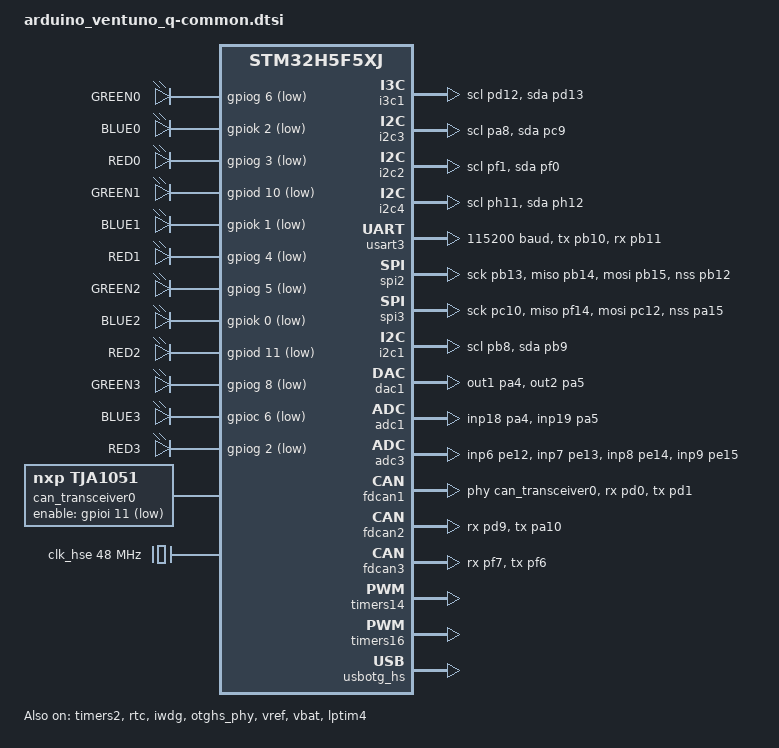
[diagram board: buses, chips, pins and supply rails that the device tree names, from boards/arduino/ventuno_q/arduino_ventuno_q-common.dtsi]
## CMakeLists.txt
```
# SPDX-License-Identifier: MIT
cmake_minimum_required(VERSION 3.20.0)
find_package(Zephyr REQUIRED HINTS $ENV{ZEPHYR_BASE})
project(demo_firmware)

target_sources(app PRIVATE src/main.c src/matrix.c src/matrix_svc.c src/mcu_log.c)
```

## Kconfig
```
# SPDX-License-Identifier: MIT
mainmenu "Demo firmware"

config DEMO_BAR_PERIOD_MS
	int "LED matrix self-test frame period (ms)"
	default 1000
	range 10 10000
	help
	  How often the self-test's vertical bar moves to the next column.

source "Kconfig.zephyr"
```

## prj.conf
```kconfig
# SPDX-License-Identifier: MIT
CONFIG_GPIO=y
CONFIG_COUNTER=y

# LED matrix service: MCUmgr SMP over the Linux link (zephyr,uart-mcumgr)
CONFIG_MCUMGR=y
CONFIG_NET_BUF=y
CONFIG_ZCBOR=y
CONFIG_BASE64=y
CONFIG_CRC=y
CONFIG_SERIAL=y
CONFIG_CONSOLE=y
CONFIG_UART_MCUMGR=y
CONFIG_MCUMGR_TRANSPORT_UART=y
# Custom groups don't raise the zcbor nesting defaults (0 = no map decoding)
CONFIG_MCUMGR_SMP_CBOR_MAX_DECODING_LEVELS=2
# Console output kept for the service's LOG command
CONFIG_RING_BUFFER=y
```

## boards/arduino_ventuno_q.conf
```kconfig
# SPDX-License-Identifier: MIT
# USB device stack with the console on CDC ACM (see the cdc-acm-console
# snippet); needs firmware/zephyr-patches for STM32H5F5 OTG HS support.
CONFIG_USB_DEVICE_STACK_NEXT=y
CONFIG_CDC_ACM_SERIAL_INITIALIZE_AT_BOOT=y
CONFIG_CDC_ACM_SERIAL_MANUFACTURER_STRING="OSS 2026 demo"
CONFIG_CDC_ACM_SERIAL_PRODUCT_STRING="VENTUNO Q MCU"
CONFIG_UART_LINE_CTRL=y
```

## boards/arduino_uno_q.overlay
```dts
/*
 * The MCU/Linux internal UART (LPUART1, Linux /dev/ttyHS1 = /dev/mcu-console)
 * carries the LED matrix service (MCUmgr SMP). Console text stays on the
 * board's default USART1 header pins (D1/TX, D0/RX).
 */
/ {
	chosen {
		zephyr,uart-mcumgr = &lpuart1;
	};
};

/* LED matrix scan timer (as in Arduino's board variants) */
&timers17 {
	status = "okay";
	st,prescaler = <4>;

	counter_matrix: counter {
		status = "okay";
	};
};
```

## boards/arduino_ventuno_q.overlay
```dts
/*
 * The VENTUNO Q MCU reaches Linux only over USB: the board's CDC ACM UART
 * (Linux /dev/mcu-console) carries the LED matrix service (MCUmgr SMP).
 * Console text stays on the board's default USART3.
 */
/ {
	chosen {
		zephyr,uart-mcumgr = &board_cdc_acm_uart;
	};
};

/* LED matrix scan timer (as in Arduino's board variants) */
&timers17 {
	status = "okay";
	st,prescaler = <4>;

	counter_matrix: counter {
		status = "okay";
	};
};
```

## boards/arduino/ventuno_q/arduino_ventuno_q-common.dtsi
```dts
/*
 * Copyright (c) 2021 Linaro Limited
 * Copyright (c) 2024 STMicroelectronics
 * Copyright (c) 2026 Arduino SA
 *
 * SPDX-License-Identifier: Apache-2.0
 */

#include <st/h5/stm32h5f5Xj.dtsi>
#include <st/h5/stm32h5f5ijkxq-pinctrl.dtsi>
#include <zephyr/dt-bindings/sensor/qdec_stm32.h>
#include <zephyr/dt-bindings/led/led.h>

/ {
	leds: leds {
		compatible = "gpio-leds";

		green_led_0: led_1 {
			gpios = <&gpiog 6 GPIO_ACTIVE_LOW>;
			label = "GREEN0";
		};

		blue_led_0: led_2 {
			gpios = <&gpiok 2 GPIO_ACTIVE_LOW>;
			label = "BLUE0";
		};

		red_led_0: led_3 {
			gpios = <&gpiog 3 GPIO_ACTIVE_LOW>;
			label = "RED0";
		};

		green_led_1: led_4 {
			gpios = <&gpiod 10 GPIO_ACTIVE_LOW>;
			label = "GREEN1";
		};

		blue_led_1: led_5 {
			gpios = <&gpiok 1 GPIO_ACTIVE_LOW>;
			label = "BLUE1";
		};

		red_led_1: led_6 {
			gpios = <&gpiog 4 GPIO_ACTIVE_LOW>;
			label = "RED1";
		};

		green_led_2: led_7 {
			gpios = <&gpiog 5 GPIO_ACTIVE_LOW>;
			label = "GREEN2";
		};

		blue_led_2: led_8 {
			gpios = <&gpiok 0 GPIO_ACTIVE_LOW>;
			label = "BLUE2";
		};

		red_led_2: led_9 {
			gpios = <&gpiod 11 GPIO_ACTIVE_LOW>;
			label = "RED2";
		};

		green_led_3: led_10 {
			gpios = <&gpiog 8 GPIO_ACTIVE_LOW>;
			label = "GREEN3";
		};

		blue_led_3: led_11 {
			gpios = <&gpioc 6 GPIO_ACTIVE_LOW>;
			label = "BLUE3";
		};

		red_led_3: led_12 {
			gpios = <&gpiog 2 GPIO_ACTIVE_LOW>;
			label = "RED3";
		};
	};

	rgb_led_0: led0 {
			compatible = "leds-group-multicolor";

			leds = <&red_led_0>, <&green_led_0>, <&blue_led_0>;
			color-mapping = <LED_COLOR_ID_RED>,
							<LED_COLOR_ID_GREEN>,
							<LED_COLOR_ID_BLUE>;
	};

	rgb_led_1: led1 {
			compatible = "leds-group-multicolor";

			leds = <&red_led_1>, <&green_led_1>, <&blue_led_1>;
			color-mapping = <LED_COLOR_ID_RED>,
							<LED_COLOR_ID_GREEN>,
							<LED_COLOR_ID_BLUE>;
	};

	rgb_led_2: led2 {
			compatible = "leds-group-multicolor";

			leds = <&red_led_1>, <&green_led_1>, <&blue_led_1>;
			color-mapping = <LED_COLOR_ID_RED>,
							<LED_COLOR_ID_GREEN>,
							<LED_COLOR_ID_BLUE>;
	};

	rgb_led_3: led3 {
			compatible = "leds-group-multicolor";

			leds = <&red_led_3>, <&green_led_3>, <&blue_led_3>;
			color-mapping = <LED_COLOR_ID_RED>,
							<LED_COLOR_ID_GREEN>,
							<LED_COLOR_ID_BLUE>;
	};

/*
	TODO: led matrix driver
*/

	can_transceiver0: can-phy0 {
		compatible = "nxp,tja1051", "can-transceiver-gpio";
		enable-gpios = <&gpioi 11 GPIO_ACTIVE_LOW>;
		max-bitrate = <5000000>;
		#phy-cells = <0>;
	};
};

&timers2 {
	st,prescaler = <239>;
	status = "okay";
	counter0: counter {
		status = "okay";
	};
};

&clk_hse {
	clock-frequency = <DT_FREQ_M(48)>;
	status = "okay";
};

&clk_hsi48 {
	status = "okay";
};

&clk_lse {
	status = "okay";
};

&pll {
	div-m = <4>;
	mul-n = <40>;
	div-p = <2>;
	div-q = <2>;
	div-r = <2>;
	clocks = <&clk_hse>;
	status = "okay";
};

&pll2 {
	div-m = <4>;
	mul-n = <20>;
	div-p = <2>;
	div-q = <2>;
	div-r = <2>;
	clocks = <&clk_hse>;
	status = "okay";
};

&pll3 {
	div-m = <3>;
	mul-n = <8>;
	div-p = <2>;
	div-q = <8>;
	div-r = <2>;
	clocks = <&clk_hse>;
	status = "okay";
};

&i3c1 {
	pinctrl-0 = <&i3c1_scl_pd12 &i3c1_sda_pd13>;
	pinctrl-names = "default";
	i3c-scl-hz = <12500000>;
	status = "okay";
};

&rcc {
	clocks = <&pll>;
	clock-frequency = <DT_FREQ_M(240)>;
	ahb-prescaler = <1>;
	apb1-prescaler = <2>;
	apb2-prescaler = <1>;
	apb3-prescaler = <2>;
};

/* QWIIK */
&i2c3 {
	pinctrl-0 = <&i2c3_scl_pa8 &i2c3_sda_pc9>;
	pinctrl-names = "default";
	status = "okay";
};

/* JMISC */
&i2c2 {
	pinctrl-0 = <&i2c2_scl_pf1 &i2c2_sda_pf0>;
	pinctrl-names = "default";
	status = "okay";
};

/* JDIGITAL */

&i2c4 {
	pinctrl-0 = <&i2c4_scl_ph11 &i2c4_sda_ph12>;
	pinctrl-names = "default";
	status = "okay";
};

&pinctrl {
	/omit-if-no-ref/ usart3_rx_pb11: usart3_rx_pb11 {
		pinmux = <STM32_PINMUX('B', 11, AF7)>;
		bias-pull-up;
	};
	/omit-if-no-ref/ spi3_miso_pf14: spi3_miso_pf14 {
		pinmux = <STM32_PINMUX('F', 14, AF6)>;
		bias-pull-down;
	};
};

&usart3 {
	pinctrl-0 = <&usart3_tx_pb10 &usart3_rx_pb11>;
	pinctrl-names = "default";
	current-speed = <115200>;
	status = "okay";
};

&spi2 {
	pinctrl-0 = <&spi2_sck_pb13 &spi2_miso_pb14 &spi2_mosi_pb15 &spi2_nss_pb12>;
	pinctrl-names = "default";
	/*cs-gpios = <&gpiob 12 (GPIO_ACTIVE_LOW | GPIO_PULL_UP)>;*/
	status = "okay";
};

&spi3 {
	pinctrl-0 = <&spi3_sck_pc10 &spi3_miso_pf14 &spi3_mosi_pc12 &spi3_nss_pa15>;
	pinctrl-names = "default";
	/*cs-gpios = <&gpioa 15 (GPIO_ACTIVE_LOW | GPIO_PULL_UP)>;*/
	status = "okay";
};

/* INTERNAL */
&i2c1 {
	pinctrl-0 = <&i2c1_scl_pb8 &i2c1_sda_pb9>;
	pinctrl-names = "default";
	status = "okay";
};

&rtc {
	clocks = <&rcc STM32_CLOCK(APB3, 21)>,
		 <&rcc STM32_SRC_LSE RTC_SEL(1)>;
	status = "okay";
};

&iwdg {
	status = "okay";
};

&gpdma1 {
	status = "okay";
};

&gpdma2 {
	status = "okay";
};

&dac1 {
	pinctrl-0 = <&dac1_out1_pa4 &dac1_out2_pa5>;
	pinctrl-names = "default";
	status = "okay";
};

&adc1 {
	clocks = <&rcc STM32_CLOCK(AHB2, 10)>,
		 <&rcc STM32_SRC_HCLK ADCDAC_SEL(0)>;
	clock-names = "adcx", "adc_ker";
	pinctrl-0 = <&adc1_inp18_pa4 &adc1_inp19_pa5>;
	pinctrl-names = "default";
	st,adc-clock-source = "ASYNC";
	st,adc-prescaler = <6>;
	status = "okay";
};

&adc3 {
	clocks = <&rcc STM32_CLOCK(AHB2, 24)>,
		 <&rcc STM32_SRC_HCLK ADCDAC_SEL(0)>;
	clock-names = "adcx", "adc_ker";
	pinctrl-0 = <&adc3_inp6_pe12 &adc3_inp7_pe13 &adc3_inp8_pe14 &adc3_inp9_pe15>;
	pinctrl-names = "default";
	st,adc-clock-source = "ASYNC";
	st,adc-prescaler = <6>;
	status = "okay";
};

&fdcan1 {
	pinctrl-0 = <&fdcan1_rx_pd0 &fdcan1_tx_pd1>;
	// pinctrl-1 = <&fdcan1_rx_pi9 &fdcan1_tx_pi10>; /* alt mux on JOMEGA*/
	pinctrl-names = "default";
	clk-divider = <1>;
	phys = <&can_transceiver0>;
	status = "okay";
};

&fdcan2 {
	pinctrl-0 = <&fdcan2_rx_pd9 &fdcan2_tx_pa10>;
	//pinctrl-1 = <&fdcan2_rx_pb5 &fdcan2_tx_pb6>; /* alt mux on JDIGITAL */
	pinctrl-names = "default";
	clk-divider = <1>;
	status = "okay";
};

&fdcan3 {
	pinctrl-0 = <&fdcan3_rx_pf7 &fdcan3_tx_pf6>;
	pinctrl-names = "default";
	clk-divider = <1>;
	status = "okay";
};

/* FAN INPUT*/
&timers14 {
	st,prescaler = <254>;
	status = "okay";

	pwm14: pwm {
		status = "okay";
		pinctrl-0 = <&tim14_ch1_pa7>;
		pinctrl-names = "default";
		four-channel-capture-support;
	};
};

/* FAN OUTPUT */
&timers16 {
	st,prescaler = <500>;
	status = "okay";

	pwm16: pwm {
		status = "okay";
		pinctrl-0 = <&tim16_ch1_pg15>;
		pinctrl-names = "default";
	};
};

&flash0 {
	partitions {
		compatible = "fixed-partitions";
		#address-cells = <1>;
		#size-cells = <1>;

		boot_partition: partition@0 {
			label = "mcuboot";
			reg = <0x00000000 DT_SIZE_K(64)>;
		};

		slot0_partition: partition@10000 {
			label = "image-0";
			reg = <0x00010000 DT_SIZE_K(960)>;
		};

		slot1_partition: partition@100000 {
			label = "image-1";
			reg = <0x00100000 DT_SIZE_K(960)>;
		};

		storage_partition: partition@1f0000 {
			label = "storage";
			reg = <0x001f0000 DT_SIZE_K(64)>;
		};
	};
};

zephyr_udc0: &usbotg_hs {
	pinctrl-0 = <>;
	pinctrl-names = "default";
	status = "okay";
};

&otghs_phy {
	status = "okay";
};

&vref {
	status = "okay";
};

&vbat {
	status = "okay";
};

&clk_lsi {
	status = "okay";
};

stm32_lp_tick_source: &lptim4 {
	clocks = <&rcc STM32_CLOCK(APB3, 13)>,
		 <&rcc STM32_SRC_LSI LPTIM4_SEL(4)>;
	status = "okay";
};
```

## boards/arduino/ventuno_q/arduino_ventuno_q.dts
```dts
/*
 * Copyright (c) 2021 Linaro Limited
 * Copyright (c) 2024 STMicroelectronics
 * Copyright (c) 2026 Arduino SA
 *
 * SPDX-License-Identifier: Apache-2.0
 */

/dts-v1/;
#include "arduino_ventuno_q-common.dtsi"

/ {
	model = "Arduino Ventuno Q";
	compatible = "arduino,ventuno_q";

	#address-cells = <1>;
	#size-cells = <1>;

	chosen {
		zephyr,console = &usart3;
		zephyr,shell-uart = &usart3;
		zephyr,sram = &sram1;
		zephyr,flash = &flash0;
		zephyr,code-partition = &slot0_partition;
		zephyr,canbus = &fdcan1;
	};

	aliases {
		led0 = &green_led_0;
		led1 = &blue_led_0;
		watchdog0 = &iwdg;
		volt-sensor0 = &vref;
		volt-sensor1 = &vbat;
	};
};

&rng {
	status = "okay";
};

&backup_sram {
	status = "okay";
};

&zephyr_udc0 {
	board_cdc_acm_uart: board_cdc_acm_uart {
		compatible = "zephyr,cdc-acm-uart";
		status = "okay";
	};
};
```

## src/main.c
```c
/* SPDX-License-Identifier: MIT */
/* Copyright (c) 2026 Qualcomm Innovation Center, Inc. All rights reserved. */
#include <string.h>
#include <zephyr/kernel.h>
#include <zephyr/sys/printk.h>

#include "matrix.h"

static void set_pixel(uint8_t *bitmap, int row, int col)
{
	int idx = row * MATRIX_COLS + col;

	bitmap[idx / 8] |= BIT(idx % 8);
}

/*
 * Matrix self-test: whole panel on, then row 0 plus column 0 (an "L" whose
 * corner is pixel 0,0) for orientation, then a vertical bar per heartbeat.
 */
static void show_test_frame(uint32_t revision)
{
	uint8_t bitmap[MATRIX_BYTES] = {0};

	if (revision == 0) {
		memset(bitmap, 0xff, sizeof(bitmap));
	} else if (revision <= 3000 / CONFIG_DEMO_BAR_PERIOD_MS) {
		for (int col = 0; col < MATRIX_COLS; col++) {
			set_pixel(bitmap, 0, col);
		}
		for (int row = 0; row < MATRIX_ROWS; row++) {
			set_pixel(bitmap, row, 0);
		}
	} else {
		for (int row = 0; row < MATRIX_ROWS; row++) {
			set_pixel(bitmap, row, revision % MATRIX_COLS);
		}
	}
	matrix_render_at(revision, 0, bitmap);
}

int main(void)
{
	int ret;
	unsigned int heartbeat = 0;
	struct matrix_status st;

	printk("Demo firmware started (%s)\n", IS_ENABLED(CONFIG_XIP) ? "flash" : "RAM");
	ret = matrix_init();
	printk("LED matrix: %s (%d)\n", ret == 0 ? "scanning" : "failed", ret);
	show_test_frame(0);

	uint32_t frame = 0;
	int64_t next_beat = k_uptime_get() + 1000;

	while (1) {
		k_sleep(K_MSEC(CONFIG_DEMO_BAR_PERIOD_MS));
		/* Linux owns the matrix once it opens a session */
		if (!matrix_svc_active()) {
			show_test_frame(++frame);
		}
		if (k_uptime_get() < next_beat) {
			continue;
		}
		next_beat += 1000;
		matrix_get_status(&st);
		printk("MCU heartbeat: %u (matrix rev %u, %u applied, %u us late)\n", ++heartbeat,
		       st.applied_revision, st.applied_count, st.applied_late_us);
	}
}
```

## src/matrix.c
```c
/* SPDX-License-Identifier: Apache-2.0 */
/* Copyright (c) Arduino s.r.l. and/or its affiliated companies */
/* Copyright (c) 2026 Qualcomm Innovation Center, Inc. All rights reserved. */
/*
 * Charlieplexed 8 x 13 LED matrix scan with deadline-scheduled frames.
 *
 * The pin-pair tables and the one-LED-per-10-us scan follow Arduino's
 * ArduinoCore-zephyr loader/matrix.inc (Apache-2.0, Arduino s.r.l.). Unlike
 * that backend, frames are queued with a deadline and swapped in only at a
 * full-scan boundary, so each scan shows one whole image.
 */
#include <errno.h>
#include <string.h>

#include <soc.h>
#include <zephyr/device.h>
#include <zephyr/drivers/counter.h>
#include <zephyr/kernel.h>
#include <zephyr/sys/printk.h>

#include "matrix.h"

/* LED index (row-major pixel) -> {high pin, low pin} on the matrix port */
#if defined(CONFIG_BOARD_ARDUINO_UNO_Q)
#define MATRIX_PORT GPIOF
/* Keep pins 14 and 15; 0-13 are the matrix (11-13 left as inputs) */
#define MATRIX_MODER_KEEP 0xF0000000U
static const uint8_t pins[MATRIX_PIXELS][2] = {
	{0, 1}, {1, 0}, {0, 2}, {2, 0}, {1, 2}, {2, 1}, {0, 3}, {3, 0},
	{1, 3}, {3, 1}, {2, 3}, {3, 2}, {0, 4}, {4, 0}, {1, 4}, {4, 1},
	{2, 4}, {4, 2}, {3, 4}, {4, 3}, {0, 5}, {5, 0}, {1, 5}, {5, 1},
	{2, 5}, {5, 2}, {3, 5}, {5, 3}, {4, 5}, {5, 4}, {0, 6}, {6, 0},
	{1, 6}, {6, 1}, {2, 6}, {6, 2}, {3, 6}, {6, 3}, {4, 6}, {6, 4},
	{5, 6}, {6, 5}, {0, 7}, {7, 0}, {1, 7}, {7, 1}, {2, 7}, {7, 2},
	{3, 7}, {7, 3}, {4, 7}, {7, 4}, {5, 7}, {7, 5}, {6, 7}, {7, 6},
	{0, 8}, {8, 0}, {1, 8}, {8, 1}, {2, 8}, {8, 2}, {3, 8}, {8, 3},
	{4, 8}, {8, 4}, {5, 8}, {8, 5}, {6, 8}, {8, 6}, {7, 8}, {8, 7},
	{0, 9}, {9, 0}, {1, 9}, {9, 1}, {2, 9}, {9, 2}, {3, 9}, {9, 3},
	{4, 9}, {9, 4}, {5, 9}, {9, 5}, {6, 9}, {9, 6}, {7, 9}, {9, 7},
	{8, 9}, {9, 8}, {0, 10}, {10, 0}, {1, 10}, {10, 1}, {2, 10}, {10, 2},
	{3, 10}, {10, 3}, {4, 10}, {10, 4}, {5, 10}, {10, 5}, {6, 10}, {10, 6},
};
#define MATRIX_PORT_NODE DT_NODELABEL(gpiof)
#elif defined(CONFIG_BOARD_ARDUINO_VENTUNO_Q)
#define MATRIX_PORT GPIOH
/* Keep pins 0, 1, 8, 11 and 12, which are not part of the matrix */
#define MATRIX_MODER_KEEP 0x03C3000FU
static const uint8_t pins[MATRIX_PIXELS][2] = {
	{2, 3}, {3, 2}, {2, 4}, {4, 2}, {3, 4}, {4, 3}, {2, 5}, {5, 2},
	{3, 5}, {5, 3}, {4, 5}, {5, 4}, {2, 6}, {6, 2}, {3, 6}, {6, 3},
	{4, 6}, {6, 4}, {5, 6}, {6, 5}, {2, 7}, {7, 2}, {3, 7}, {7, 3},
	{4, 7}, {7, 4}, {5, 7}, {7, 5}, {6, 7}, {7, 6}, {2, 9}, {9, 2},
	{3, 9}, {9, 3}, {4, 9}, {9, 4}, {5, 9}, {9, 5}, {6, 9}, {9, 6},
	{7, 9}, {9, 7}, {2, 10}, {10, 2}, {3, 10}, {10, 3}, {4, 10}, {10, 4},
	{5, 10}, {10, 5}, {6, 10}, {10, 6}, {7, 10}, {10, 7}, {9, 10}, {10, 9},
	{2, 13}, {13, 2}, {3, 13}, {13, 3}, {4, 13}, {13, 4}, {5, 13}, {13, 5},
	{6, 13}, {13, 6}, {7, 13}, {13, 7}, {9, 13}, {13, 9}, {10, 13}, {13, 10},
	{2, 14}, {14, 2}, {3, 14}, {14, 3}, {4, 14}, {14, 4}, {5, 14}, {14, 5},
	{6, 14}, {14, 6}, {7, 14}, {14, 7}, {9, 14}, {14, 9}, {10, 14}, {14, 10},
	{13, 14}, {14, 13}, {2, 15}, {15, 2}, {3, 15}, {15, 3}, {4, 15}, {15, 4},
	{5, 15}, {15, 5}, {6, 15}, {15, 6}, {7, 15}, {15, 7}, {9, 15}, {15, 9},
};
#define MATRIX_PORT_NODE DT_NODELABEL(gpioh)
#else
#error "No LED matrix pin table for this board"
#endif

#define SCAN_PERIOD_US 10

struct frame {
	uint32_t revision;
	uint64_t deadline_us;
	uint8_t bitmap[MATRIX_BYTES];
};

/* Two scan buffers: the ISR reads `active` and swaps at a scan boundary. */
static uint8_t scan_buf[2][MATRIX_BYTES];
static volatile uint8_t active;

/* Single-producer (threads, under the lock) / single-consumer (ISR) queue */
static struct frame queue[MATRIX_QUEUE_DEPTH];
static volatile uint32_t q_head, q_tail;
static uint64_t last_deadline_us;
static struct k_spinlock lock;

static volatile struct matrix_status status;
static bool started;

uint64_t matrix_now_us(void)
{
	return k_ticks_to_us_floor64(k_uptime_ticks());
}

static inline void led(int idx, bool on)
{
	uint32_t moder = MATRIX_PORT->MODER & MATRIX_MODER_KEEP;

	if (on) {
		uint8_t hi = pins[idx][0];
		uint8_t lo = pins[idx][1];

		MATRIX_PORT->BSRR = BIT(hi) | BIT(lo + 16);
		moder |= BIT(hi * 2) | BIT(lo * 2);
	}
	MATRIX_PORT->MODER = moder;
}

/* Scan boundary: apply the head frame once its deadline has passed. */
static void scan_boundary(void)
{
	if (q_head == q_tail) {
		return;
	}
	struct frame *f = &queue[q_head % MATRIX_QUEUE_DEPTH];
	uint64_t now = matrix_now_us();

	if (now < f->deadline_us) {
		return;
	}
	uint8_t next = active ^ 1;

	memcpy(scan_buf[next], f->bitmap, MATRIX_BYTES);
	active = next;
	status.applied_revision = f->revision;
	status.applied_us = now;
	/* Deadline 0 means "next boundary": nothing to be late for */
	status.applied_late_us =
		f->deadline_us ? (uint32_t)MIN(now - f->deadline_us, UINT32_MAX) : 0;
	status.applied_count++;
	q_head++;
}

static void scan_isr(const struct device *dev, void *user_data)
{
	static int idx;
	const uint8_t *buf = scan_buf[active];

	ARG_UNUSED(dev);
	ARG_UNUSED(user_data);

	led(idx, (buf[idx >> 3] & BIT(idx & 7)) != 0);
	if (++idx == MATRIX_PIXELS) {
		idx = 0;
		scan_boundary();
	}
}

int matrix_init(void)
{
	const struct device *counter = DEVICE_DT_GET(DT_NODELABEL(counter_matrix));
	const struct device *port = DEVICE_DT_GET(MATRIX_PORT_NODE);
	struct counter_top_cfg top = {
		.callback = scan_isr,
	};
	int err;

	/* The GPIO driver enables the port clock at init. */
	if (!device_is_ready(port) || !device_is_ready(counter)) {
		return -ENODEV;
	}
	MATRIX_PORT->MODER &= MATRIX_MODER_KEEP;

	top.ticks = counter_us_to_ticks(counter, SCAN_PERIOD_US);
	err = counter_set_top_value(counter, &top);
	if (err == 0) {
		err = counter_start(counter);
	}
	started = err == 0;
	return err;
}

int matrix_render_at(uint32_t revision, uint64_t deadline_us,
		     const uint8_t bitmap[MATRIX_BYTES])
{
	k_spinlock_key_t key;
	int err = 0;

	if (!started) {
		return -ENODEV;
	}
	key = k_spin_lock(&lock);
	if (q_tail - q_head >= MATRIX_QUEUE_DEPTH) {
		err = -ENOSPC;
	} else if (deadline_us < last_deadline_us) {
		err = -EINVAL;
	} else {
		struct frame *f = &queue[q_tail % MATRIX_QUEUE_DEPTH];

		f->revision = revision;
		f->deadline_us = deadline_us;
		memcpy(f->bitmap, bitmap, MATRIX_BYTES);
		last_deadline_us = deadline_us;
		q_tail++;
	}
	if (err) {
		status.rejected_count++;
	}
	k_spin_unlock(&lock, key);
	return err;
}

void matrix_cancel_pending(void)
{
	k_spinlock_key_t key = k_spin_lock(&lock);

	q_head = q_tail;
	last_deadline_us = 0;
	k_spin_unlock(&lock, key);
}

void matrix_get_status(struct matrix_status *out)
{
	k_spinlock_key_t key = k_spin_lock(&lock);

	out->applied_revision = status.applied_revision;
	out->applied_us = status.applied_us;
	out->applied_late_us = status.applied_late_us;
	out->applied_count = status.applied_count;
	out->rejected_count = status.rejected_count;
	out->pending = q_tail - q_head;
	k_spin_unlock(&lock, key);
}
```

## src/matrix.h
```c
/* SPDX-License-Identifier: MIT */
/* Copyright (c) 2026 Qualcomm Innovation Center, Inc. All rights reserved. */
/*
 * 8 x 13 charlieplexed LED matrix on the UNO Q / VENTUNO Q MCU.
 *
 * See docs/lighting-protocol/MCU-INTERFACE.md for bitmap layout, orientation,
 * queue semantics and scheduled presentation.
 */
#ifndef DEMO_MATRIX_H_
#define DEMO_MATRIX_H_

#include <stdbool.h>
#include <stdint.h>

#define MATRIX_ROWS 8
#define MATRIX_COLS 13
#define MATRIX_PIXELS (MATRIX_ROWS * MATRIX_COLS)
#define MATRIX_BYTES ((MATRIX_PIXELS + 7) / 8)
#define MATRIX_QUEUE_DEPTH 4

struct matrix_status {
	/* Revision and MCU uptime (us) of the last applied frame */
	uint32_t applied_revision;
	uint64_t applied_us;
	/* Applied minus queued deadline for that frame, in us */
	uint32_t applied_late_us;
	uint32_t pending;
	uint32_t applied_count;
	uint32_t rejected_count;
};

int matrix_init(void);

/*
 * Queue a frame for the first scan boundary at or after deadline_us (MCU
 * uptime; 0 = next boundary). Deadlines must not go backwards.
 * Returns 0, -ENOSPC when the queue is full, -EINVAL for a deadline earlier
 * than the last queued frame, or -ENODEV before matrix_init().
 */
int matrix_render_at(uint32_t revision, uint64_t deadline_us,
		     const uint8_t bitmap[MATRIX_BYTES]);

/* Drop queued frames; the visible image is kept. */
void matrix_cancel_pending(void);

void matrix_get_status(struct matrix_status *status);

/* True once Linux has opened a matrix service session (HELLO). */
bool matrix_svc_active(void);

/* MCU uptime in us, the time base for deadlines */
uint64_t matrix_now_us(void);

#endif /* DEMO_MATRIX_H_ */
```

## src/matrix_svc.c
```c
/* SPDX-License-Identifier: MIT */
/* Copyright (c) 2026 Qualcomm Innovation Center, Inc. All rights reserved. */
/*
 * LED matrix service: an MCUmgr SMP group for Linux (led-matrix-client) to
 * drive the matrix over /dev/mcu-console. See docs/lighting-protocol/
 * MCU-INTERFACE.md for the interface specification.
 *
 * Handlers validate and queue; the matrix scan interrupt performs the
 * scheduled swap. CBOR maps use short keys; times are MCU uptime in us.
 */
#include <errno.h>
#include <string.h>

#include <zcbor_common.h>
#include <zcbor_decode.h>
#include <zcbor_encode.h>
#include <zephyr/kernel.h>
#include <zephyr/mgmt/mcumgr/mgmt/handlers.h>
#include <zephyr/mgmt/mcumgr/mgmt/mgmt.h>
#include <zephyr/mgmt/mcumgr/smp/smp.h>
#include <mgmt/mcumgr/util/zcbor_bulk.h>

#include <zephyr/drivers/gpio.h>

#include "matrix.h"
#include "mcu_log.h"

#define MATRIX_SVC_GROUP MGMT_GROUP_ID_PERUSER
#define MATRIX_SVC_VERSION 1

enum matrix_svc_cmd {
	MATRIX_SVC_HELLO = 0,
	MATRIX_SVC_CLOCK_SAMPLE = 1,
	MATRIX_SVC_RENDER_AT = 2,
	MATRIX_SVC_STATUS = 3,
	MATRIX_SVC_CANCEL_PENDING = 4,
	MATRIX_SVC_LOG = 5,
	MATRIX_SVC_SET_LEDS = 6,
};

/* Console bytes returned per LOG response */
#define MATRIX_SVC_LOG_CHUNK 200

/* The session from the last HELLO; 0 means none. */
static uint64_t session;

bool matrix_svc_active(void)
{
	return session != 0;
}

static bool session_ok(uint64_t s)
{
	return session != 0 && s == session;
}

static int decode_session(struct smp_streamer *ctxt, uint64_t *s)
{
	size_t decoded;
	struct zcbor_map_decode_key_val keys[] = {
		ZCBOR_MAP_DECODE_KEY_DECODER("s", zcbor_uint64_decode, s),
	};

	if (zcbor_map_decode_bulk(ctxt->reader->zs, keys, ARRAY_SIZE(keys), &decoded) != 0 ||
	    decoded != 1) {
		return MGMT_ERR_EINVAL;
	}
	return session_ok(*s) ? MGMT_ERR_EOK : MGMT_ERR_EACCESSDENIED;
}

/*
 * HELLO {s: new session} -> {v, rows, cols, q, now}; flushes queued frames and
 * blanks the matrix (revision 0) until Linux sends its first frame.
 */
static int hello(struct smp_streamer *ctxt)
{
	zcbor_state_t *zse = ctxt->writer->zs;
	uint64_t s = 0;
	size_t decoded;
	struct zcbor_map_decode_key_val keys[] = {
		ZCBOR_MAP_DECODE_KEY_DECODER("s", zcbor_uint64_decode, &s),
	};

	if (zcbor_map_decode_bulk(ctxt->reader->zs, keys, ARRAY_SIZE(keys), &decoded) != 0 ||
	    decoded != 1 || s == 0) {
		return MGMT_ERR_EINVAL;
	}
	static const uint8_t blank[MATRIX_BYTES];

	matrix_cancel_pending();
	matrix_render_at(0, 0, blank);
	session = s;

	bool ok = zcbor_tstr_put_lit(zse, "v") && zcbor_uint32_put(zse, MATRIX_SVC_VERSION) &&
		  zcbor_tstr_put_lit(zse, "rows") && zcbor_uint32_put(zse, MATRIX_ROWS) &&
		  zcbor_tstr_put_lit(zse, "cols") && zcbor_uint32_put(zse, MATRIX_COLS) &&
		  zcbor_tstr_put_lit(zse, "q") && zcbor_uint32_put(zse, MATRIX_QUEUE_DEPTH) &&
		  zcbor_tstr_put_lit(zse, "now") && zcbor_uint64_put(zse, matrix_now_us());

	return ok ? MGMT_ERR_EOK : MGMT_ERR_EMSGSIZE;
}

/* CLOCK_SAMPLE {} -> {rx: uptime at handler entry, tx: uptime at reply} */
static int clock_sample(struct smp_streamer *ctxt)
{
	uint64_t rx = matrix_now_us();
	zcbor_state_t *zse = ctxt->writer->zs;
	bool ok = zcbor_tstr_put_lit(zse, "rx") && zcbor_uint64_put(zse, rx) &&
		  zcbor_tstr_put_lit(zse, "tx") && zcbor_uint64_put(zse, matrix_now_us());

	return ok ? MGMT_ERR_EOK : MGMT_ERR_EMSGSIZE;
}

/* RENDER_AT {s, f: revision, t: deadline (0 = next scan), p: bitmap} -> {q} */
static int render_at(struct smp_streamer *ctxt)
{
	zcbor_state_t *zse = ctxt->writer->zs;
	uint64_t s = 0, t = 0;
	uint32_t f = 0;
	struct zcbor_string p = {0};
	size_t decoded;
	struct matrix_status st;
	struct zcbor_map_decode_key_val keys[] = {
		ZCBOR_MAP_DECODE_KEY_DECODER("s", zcbor_uint64_decode, &s),
		ZCBOR_MAP_DECODE_KEY_DECODER("f", zcbor_uint32_decode, &f),
		ZCBOR_MAP_DECODE_KEY_DECODER("t", zcbor_uint64_decode, &t),
		ZCBOR_MAP_DECODE_KEY_DECODER("p", zcbor_bstr_decode, &p),
	};

	if (zcbor_map_decode_bulk(ctxt->reader->zs, keys, ARRAY_SIZE(keys), &decoded) != 0 ||
	    decoded != ARRAY_SIZE(keys) || p.len != MATRIX_BYTES) {
		return MGMT_ERR_EINVAL;
	}
	if (!session_ok(s)) {
		return MGMT_ERR_EACCESSDENIED;
	}
	switch (matrix_render_at(f, t, p.value)) {
	case 0:
		break;
	case -ENOSPC:
		return MGMT_ERR_ENOMEM;
	case -EINVAL:
		return MGMT_ERR_EINVAL;
	default:
		return MGMT_ERR_EBADSTATE;
	}
	matrix_get_status(&st);
	return zcbor_tstr_put_lit(zse, "q") && zcbor_uint32_put(zse, st.pending)
		       ? MGMT_ERR_EOK
		       : MGMT_ERR_EMSGSIZE;
}

/* STATUS {s} -> {f, at, late, q, n, rej, now} */
static int status(struct smp_streamer *ctxt)
{
	zcbor_state_t *zse = ctxt->writer->zs;
	struct matrix_status st;
	uint64_t s;
	int rc = decode_session(ctxt, &s);

	if (rc != MGMT_ERR_EOK) {
		return rc;
	}
	matrix_get_status(&st);

	bool ok = zcbor_tstr_put_lit(zse, "f") && zcbor_uint32_put(zse, st.applied_revision) &&
		  zcbor_tstr_put_lit(zse, "at") && zcbor_uint64_put(zse, st.applied_us) &&
		  zcbor_tstr_put_lit(zse, "late") && zcbor_uint32_put(zse, st.applied_late_us) &&
		  zcbor_tstr_put_lit(zse, "q") && zcbor_uint32_put(zse, st.pending) &&
		  zcbor_tstr_put_lit(zse, "n") && zcbor_uint32_put(zse, st.applied_count) &&
		  zcbor_tstr_put_lit(zse, "rej") && zcbor_uint32_put(zse, st.rejected_count) &&
		  zcbor_tstr_put_lit(zse, "now") && zcbor_uint64_put(zse, matrix_now_us());

	return ok ? MGMT_ERR_EOK : MGMT_ERR_EMSGSIZE;
}

/* CANCEL_PENDING {s} -> {} ; the visible image is kept */
static int cancel_pending(struct smp_streamer *ctxt)
{
	uint64_t s;
	int rc = decode_session(ctxt, &s);

	if (rc == MGMT_ERR_EOK) {
		matrix_cancel_pending();
	}
	return rc;
}

/*
 * LOG {} -> {d: console bytes, more: still buffered, drop: total dropped}.
 * Needs no session, so diagnostics stay readable before HELLO.
 */
static int log_read(struct smp_streamer *ctxt)
{
	zcbor_state_t *zse = ctxt->writer->zs;
	uint8_t chunk[MATRIX_SVC_LOG_CHUNK];
	uint32_t more, drop;
	size_t len = mcu_log_read(chunk, sizeof(chunk), &more, &drop);
	bool ok = zcbor_tstr_put_lit(zse, "d") && zcbor_bstr_encode_ptr(zse, chunk, len) &&
		  zcbor_tstr_put_lit(zse, "more") && zcbor_uint32_put(zse, more) &&
		  zcbor_tstr_put_lit(zse, "drop") && zcbor_uint32_put(zse, drop);

	return ok ? MGMT_ERR_EOK : MGMT_ERR_EMSGSIZE;
}

/*
 * SET_LEDS {r: 0|1, g: 0|1, b: 0|1} -> {}
 *
 * Sets all 4 RGB LEDs on boards that have them (VENTUNO Q).  Needs no session.
 * On UNO Q the handler simply does not exist; the MCUmgr framework returns
 * MGMT_ERR_ENOTSUPPORT and the Linux caller falls back to sysfs LEDs.
 *
 * Each LED is ACTIVE_LOW: gpio_pin_set_dt(spec, 1) turns it on.
 */
#if DT_NODE_EXISTS(DT_NODELABEL(leds))
#define N_RGB 4
static const struct gpio_dt_spec rgb_pins[N_RGB][3] = {
	{GPIO_DT_SPEC_GET(DT_NODELABEL(red_led_0), gpios),
	 GPIO_DT_SPEC_GET(DT_NODELABEL(green_led_0), gpios),
	 GPIO_DT_SPEC_GET(DT_NODELABEL(blue_led_0), gpios)},
	{GPIO_DT_SPEC_GET(DT_NODELABEL(red_led_1), gpios),
	 GPIO_DT_SPEC_GET(DT_NODELABEL(green_led_1), gpios),
	 GPIO_DT_SPEC_GET(DT_NODELABEL(blue_led_1), gpios)},
	{GPIO_DT_SPEC_GET(DT_NODELABEL(red_led_2), gpios),
	 GPIO_DT_SPEC_GET(DT_NODELABEL(green_led_2), gpios),
	 GPIO_DT_SPEC_GET(DT_NODELABEL(blue_led_2), gpios)},
	{GPIO_DT_SPEC_GET(DT_NODELABEL(red_led_3), gpios),
	 GPIO_DT_SPEC_GET(DT_NODELABEL(green_led_3), gpios),
	 GPIO_DT_SPEC_GET(DT_NODELABEL(blue_led_3), gpios)},
};

static void rgb_leds_configure(void)
{
	static bool done;

	if (done) {
		return;
	}
	done = true;
	for (int i = 0; i < N_RGB; i++) {
		for (int j = 0; j < 3; j++) {
			if (gpio_is_ready_dt(&rgb_pins[i][j])) {
				gpio_pin_configure_dt(&rgb_pins[i][j], GPIO_OUTPUT_INACTIVE);
			}
		}
	}
}

static int set_leds(struct smp_streamer *ctxt)
{
	uint32_t r = 0, g = 0, b = 0;
	size_t decoded;
	struct zcbor_map_decode_key_val keys[] = {
		ZCBOR_MAP_DECODE_KEY_DECODER("r", zcbor_uint32_decode, &r),
		ZCBOR_MAP_DECODE_KEY_DECODER("g", zcbor_uint32_decode, &g),
		ZCBOR_MAP_DECODE_KEY_DECODER("b", zcbor_uint32_decode, &b),
	};

	if (zcbor_map_decode_bulk(ctxt->reader->zs, keys, ARRAY_SIZE(keys), &decoded) != 0 ||
	    decoded != ARRAY_SIZE(keys)) {
		return MGMT_ERR_EINVAL;
	}
	rgb_leds_configure();
	for (int i = 0; i < N_RGB; i++) {
		gpio_pin_set_dt(&rgb_pins[i][0], r ? 1 : 0);
		gpio_pin_set_dt(&rgb_pins[i][1], g ? 1 : 0);
		gpio_pin_set_dt(&rgb_pins[i][2], b ? 1 : 0);
	}
	return MGMT_ERR_EOK;
}
#endif /* DT_NODE_EXISTS(DT_NODELABEL(leds)) */

static const struct mgmt_handler matrix_svc_handlers[] = {
	[MATRIX_SVC_HELLO] = {.mh_write = hello},
	[MATRIX_SVC_CLOCK_SAMPLE] = {.mh_read = clock_sample},
	[MATRIX_SVC_RENDER_AT] = {.mh_write = render_at},
	[MATRIX_SVC_STATUS] = {.mh_read = status},
	[MATRIX_SVC_CANCEL_PENDING] = {.mh_write = cancel_pending},
	[MATRIX_SVC_LOG] = {.mh_read = log_read},
#if DT_NODE_EXISTS(DT_NODELABEL(leds))
	[MATRIX_SVC_SET_LEDS] = {.mh_write = set_leds},
#endif
};

static struct mgmt_group matrix_svc_group = {
	.mg_handlers = matrix_svc_handlers,
	.mg_handlers_count = ARRAY_SIZE(matrix_svc_handlers),
	.mg_group_id = MATRIX_SVC_GROUP,
};

static void matrix_svc_register(void)
{
	mgmt_register_group(&matrix_svc_group);
}

MCUMGR_HANDLER_DEFINE(matrix_svc, matrix_svc_register);
```

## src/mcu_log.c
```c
/* SPDX-License-Identifier: MIT */
/* Copyright (c) 2026 Qualcomm Innovation Center, Inc. All rights reserved. */
/*
 * Keep recent console output for Linux: printk text still goes to the
 * console UART and is also copied into a ring buffer that the matrix
 * service's LOG command drains. When full, the oldest bytes are dropped.
 */
#include <zephyr/init.h>
#include <zephyr/kernel.h>
#include <zephyr/sys/printk-hooks.h>
#include <zephyr/sys/ring_buffer.h>

#include "mcu_log.h"

#define MCU_LOG_SIZE 2048

RING_BUF_DECLARE(log_ring, MCU_LOG_SIZE);
static struct k_spinlock lock;
static uint32_t dropped;
static printk_hook_fn_t console_hook;

static int log_hook(int c)
{
	uint8_t byte = c;
	k_spinlock_key_t key = k_spin_lock(&lock);

	if (ring_buf_space_get(&log_ring) == 0) {
		uint8_t old;

		ring_buf_get(&log_ring, &old, 1);
		dropped++;
	}
	ring_buf_put(&log_ring, &byte, 1);
	k_spin_unlock(&lock, key);

	return console_hook ? console_hook(c) : c;
}

size_t mcu_log_read(uint8_t *buf, size_t max, uint32_t *remaining, uint32_t *dropped_out)
{
	k_spinlock_key_t key = k_spin_lock(&lock);
	size_t len = ring_buf_get(&log_ring, buf, max);

	*remaining = ring_buf_size_get(&log_ring);
	*dropped_out = dropped;
	k_spin_unlock(&lock, key);
	return len;
}

static int mcu_log_init(void)
{
	/* Runs after the console driver has installed its hook */
	console_hook = __printk_get_hook();
	__printk_hook_install(log_hook);
	return 0;
}

SYS_INIT(mcu_log_init, APPLICATION, 0);
```

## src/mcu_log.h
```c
/* SPDX-License-Identifier: MIT */
/* Copyright (c) 2026 Qualcomm Innovation Center, Inc. All rights reserved. */
#ifndef DEMO_MCU_LOG_H_
#define DEMO_MCU_LOG_H_

#include <stddef.h>
#include <stdint.h>

/*
 * Move up to max bytes of buffered console output into buf. Reports the
 * bytes still buffered and the total dropped because the buffer was full.
 */
size_t mcu_log_read(uint8_t *buf, size_t max, uint32_t *remaining, uint32_t *dropped);

#endif /* DEMO_MCU_LOG_H_ */
```
